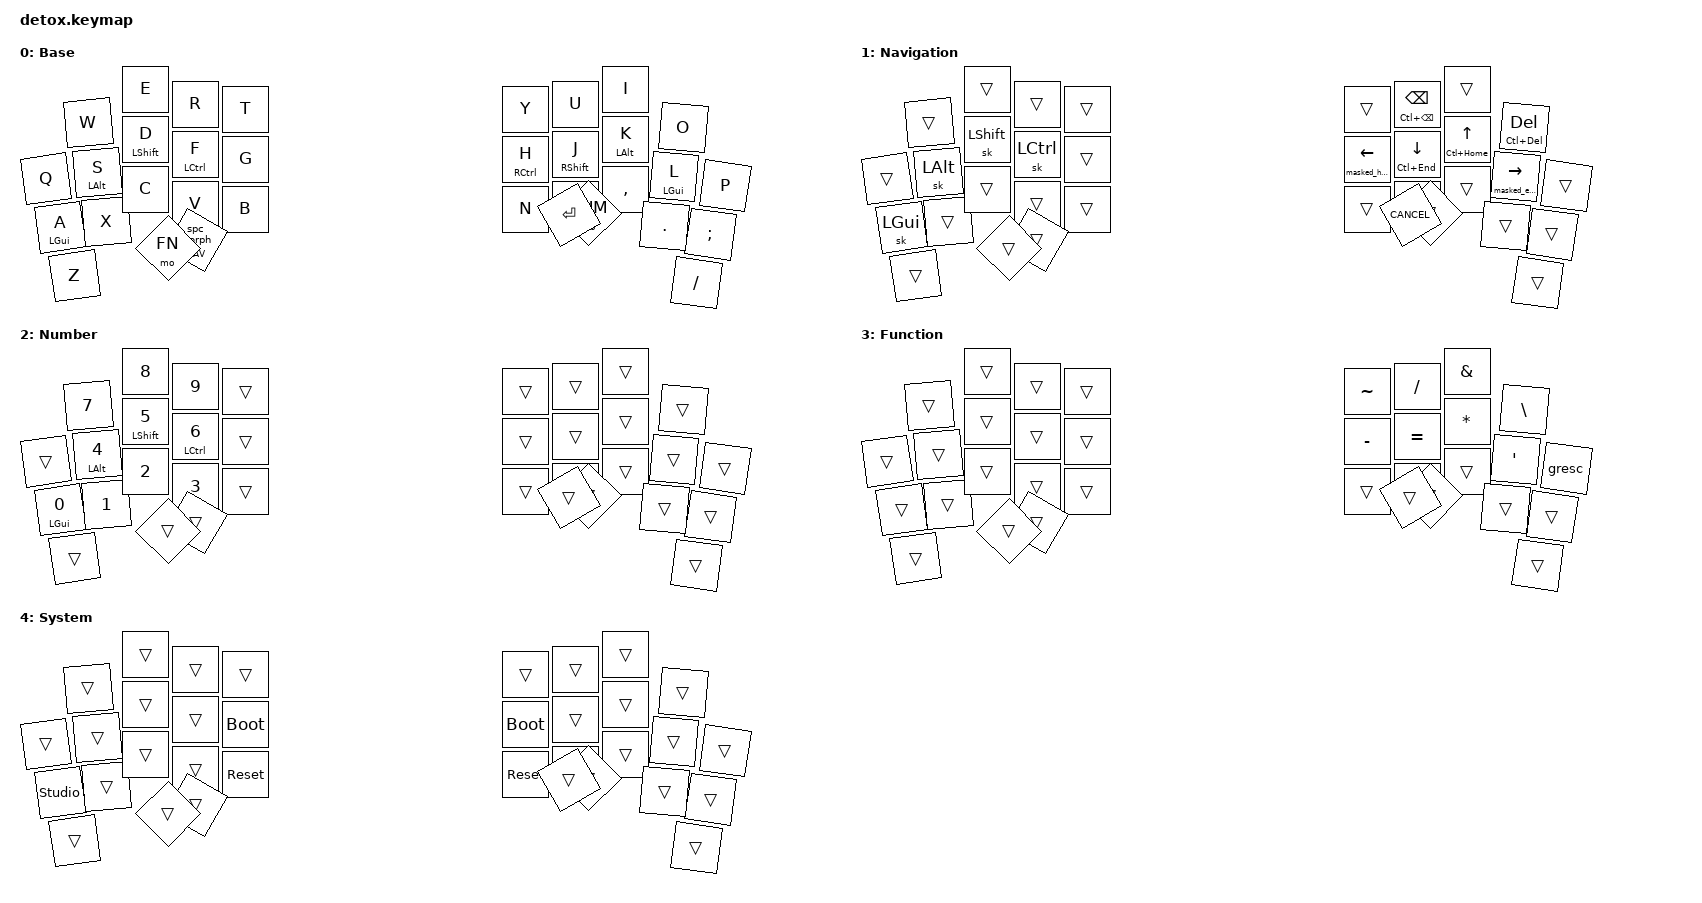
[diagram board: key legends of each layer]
// west build -p -b nice_nano_v2 -- -DSHIELD=detox_left -DZMK_CONFIG="detox"

#include <behaviors.dtsi>
#include <dt-bindings/zmk/keys.h>
#include "34.h"

#define HM_TAPPING_TERM 300
#define HM_TAPPING_TERM_FAST 200
#define HM_PRIOR_IDLE 150
#define QUICK_TAP_MS 175

#define COMBO_TERM_FAST 18
#define COMBO_TERM_SLOW 30

#define COMBO_IDLE_FAST 150
#define COMBO_IDLE_SLOW 50

#define DEF 0
#define NAV 1
#define NUM 2
#define FN 3
#define SYS 4

#define ___ &trans

#define KEYS_L LT0 LT1 LT2 LT3 LT4 LM0 LM1 LM2 LM3 LM4 LB0 LB1 LB2 LB3 LB4
#define KEYS_R RT0 RT1 RT2 RT3 RT4 RM0 RM1 RM2 RM3 RM4 RB0 RB1 RB2 RB3 RB4
#define KEYS_T LH1 LH0 RH0 RH1

// Trigger tap-action on all interrupts.
#define MT_CORE                                                                \
  flavor = "tap-preferred";                                                    \
  tapping-term-ms = <220>;                                                     \
  quick-tap-ms = <220>;                                                        \
  hold-trigger-key-positions = <0>;

&mt { MT_CORE };

&sk {
  release-after-ms = <900>;
  quick-release;
};

&sl { // Allow sticky mods to chord across sticky layers.
  ignore-modifiers;
};

&lt {
  flavor = "balanced";
  tapping-term-ms = <200>;
  quick-tap-ms = <QUICK_TAP_MS>;
};

#define NAV_LEFT  &mt_home 0   LEFT  // Tap: left  | Long-tap: start of line.
#define NAV_RIGHT &mt_end 0    RIGHT // Tap: right | Long-tap: end   of line.
#define NAV_UP    &mt LC(HOME) UP    // Tap: up    | Long-tap: start of doc.
#define NAV_DOWN  &mt LC(END)  DOWN  // Tap: down  | Long-tap: end   of doc.
#define NAV_BSPC  &mt LC(BSPC) BSPC  // Tap: bspc  | Long-tap: delete word bwd.
#define NAV_DEL   &mt LC(DEL)  DEL   // Tap: del   | Long-tap: delete word fwd.

/ {
      conditional_layers {
        compatible = "zmk,conditional-layers";
        tri_layer {
            if-layers = <FN NUM>;
            then-layer = <SYS>;
        };
      };

      macros {
        dot_spc: dot_space {
            compatible = "zmk,behavior-macro";
            #binding-cells = <0>;
            bindings = <&kp DOT &kp SPACE &sk LSHFT>;
            wait-ms = <0>;
            tap-ms = <5>;
        };
      };

      behaviors {

        // Positional Homerow mods
        // Homerow mods that prevent accidental activations when rolling keys,
        // such as when typing `st` or `ne` on colemak-dh layouts or `as` on
        // qwerty.
        //
        // Works by only allowing a mod to activate within tapping-term if
        // it's on the opposite side of the keyboard or on the same side thumb
        // keys.

        // Further optimization using urob's timerless homerow mods method:
        // https://github.com/urob/zmk-config#timeless-homerow-mods
        hml: homerow_mods_left {
            compatible = "zmk,behavior-hold-tap";
            #binding-cells = <2>;

            bindings = <&kp>,  <&kp>;

            flavor = "balanced";
            tapping-term-ms = <HM_TAPPING_TERM>;
            quick-tap-ms = <QUICK_TAP_MS>;                // repeat on tap-into-hold
            require-prior-idle-ms = <HM_PRIOR_IDLE>;

            hold-trigger-key-positions = <KEYS_R KEYS_T>;
            hold-trigger-on-release;
        };

        hmr: homerow_mods_right {
            compatible = "zmk,behavior-hold-tap";
            #binding-cells = <2>;

            bindings = <&kp>, <&kp>;

            flavor = "balanced";
            tapping-term-ms = <HM_TAPPING_TERM>;
            quick-tap-ms = <QUICK_TAP_MS>;
            require-prior-idle-ms = <HM_PRIOR_IDLE>;

            hold-trigger-key-positions = <KEYS_L KEYS_T>;
            hold-trigger-on-release;
        };


        // Positional Homerow mods for shift
        // Use faster tapping term and disable some features that may
        // cause false negatives.
        hls: hm_shift_l {
            compatible = "zmk,behavior-hold-tap";
            #binding-cells = <2>;

            bindings = <&kp>, <&kp>;

            flavor = "balanced";
            tapping-term-ms = <HM_TAPPING_TERM_FAST>;
            quick-tap-ms = <QUICK_TAP_MS>;
            require-prior-idle-ms = <HM_PRIOR_IDLE>;

            hold-trigger-key-positions = <KEYS_R KEYS_T>;
            // hold-trigger-on-release;
        };

        hrs: hm_shift_r {
            compatible = "zmk,behavior-hold-tap";
            #binding-cells = <2>;

            bindings = <&kp>, <&kp>;

            flavor = "balanced";
            tapping-term-ms = <HM_TAPPING_TERM_FAST>;
            quick-tap-ms = <QUICK_TAP_MS>;
            require-prior-idle-ms = <HM_PRIOR_IDLE>;

            hold-trigger-key-positions = <KEYS_L KEYS_T>;
            // hold-trigger-on-release;
        };

        spc_morph: space_morph {
            compatible = "zmk,behavior-mod-morph";
            #binding-cells = <0>;

            bindings = <&kp SPC>, <&dot_spc>;
            mods = <(MOD_LSFT|MOD_RSFT)>;
        };

        lt_spc: layer_tap_left {
            compatible = "zmk,behavior-hold-tap";
            #binding-cells = <2>;

            flavor = "balanced";
            tapping-term-ms = <200>;
			quick-tap-ms = <QUICK_TAP_MS>;

            bindings = <&mo>, <&spc_morph>;
        };

        masked_home: masked_home {
            compatible = "zmk,behavior-mod-morph";
            #binding-cells = <0>;

            bindings = <&kp HOME>, <&kp HOME>;
            mods = <(MOD_LCTL)>;
        };

        mt_home: mt_home {
            compatible = "zmk,behavior-hold-tap";
            #binding-cells = <2>;

            MT_CORE
            bindings = <&masked_home>, <&kp>;
        };

        masked_end: masked_end {
            compatible = "zmk,behavior-mod-morph";
            #binding-cells = <0>;

            bindings = <&kp END>, <&kp END>;
            mods = <(MOD_LCTL)>;
        };

        lpar_lt: lpar_lt {
            compatible = "zmk,behavior-mod-morph";
            #binding-cells = <0>;

            bindings = <&kp LPAR>, <&kp LT>;
            mods = <(MOD_LSFT | MOD_RSFT)>;
        };

        rpar_gt: rpar_gt {
            compatible = "zmk,behavior-mod-morph";
            #binding-cells = <0>;

            bindings = <&kp RPAR>, <&kp GT>;
            mods = <(MOD_LSFT | MOD_RSFT)>;
        };

        mt_end: mt_end {
            compatible = "zmk,behavior-hold-tap";
            #binding-cells = <2>;

            MT_CORE
            bindings = <&masked_end>, <&kp>;
        };
    };

    combos {
        compatible = "zmk,combos";

        combo_esc {
            timeout-ms = <COMBO_TERM_FAST>;
            bindings = <&kp ESC>;
            key-positions = <LT3 LT2>;
            layers = <DEF NAV NUM>;
            require-prior-idle-ms = <COMBO_IDLE_FAST>;
        };

        combo_bspc {
            timeout-ms = <COMBO_TERM_FAST>;
            bindings = <&kp BSPC>;
            key-positions = <RT1 RT2>;
            layers = <DEF NAV NUM FN>;
            require-prior-idle-ms = <COMBO_IDLE_FAST>;
        };

        combo_tab {
            timeout-ms = <COMBO_TERM_FAST>;
            bindings = <&hml LS(LALT)TAB>;
            key-positions = <LM3 LM2>;
            layers = <DEF NAV NUM>;
            require-prior-idle-ms = <COMBO_IDLE_FAST>;
        };

        combo_lt {
            timeout-ms = <COMBO_TERM_FAST>;
            bindings = <&kp LT>;
            key-positions = <RM0 RM1>;
            layers = <NAV>;
            require-prior-idle-ms = <COMBO_IDLE_FAST>;
        };

        combo_gt {
            timeout-ms = <COMBO_TERM_FAST>;
            bindings = <&kp GT>;
            key-positions = <RM1 RM2>;
            layers = <NAV>;
            require-prior-idle-ms = <COMBO_IDLE_FAST>;
        };

        combo_lpar {
            timeout-ms = <COMBO_TERM_FAST>;
            bindings = <&lpar_lt>;
            key-positions = <RM0 RM1>;
            layers = <DEF NUM>;
            require-prior-idle-ms = <COMBO_IDLE_FAST>;
        };

        combo_rpar {
            timeout-ms = <COMBO_TERM_FAST>;
            bindings = <&rpar_gt>;
            key-positions = <RM1 RM2>;
            layers = <DEF NUM>;
            require-prior-idle-ms = <COMBO_IDLE_FAST>;
        };

        combo_lbkt {
            timeout-ms = <COMBO_TERM_FAST>;
            bindings = <&kp LBKT>;
            key-positions = <RB0 RB1>;
            layers = <DEF NUM>;
            require-prior-idle-ms = <COMBO_IDLE_FAST>;
        };

        combo_rbkt {
            timeout-ms = <COMBO_TERM_FAST>;
            bindings = <&kp RBKT>;
            key-positions = <RB1 RB2>;
            layers = <DEF NUM>;
            require-prior-idle-ms = <COMBO_IDLE_FAST>;
        };

        combo_lbrc {
            timeout-ms = <COMBO_TERM_FAST>;
            bindings = <&kp LBRC>;
            key-positions = <RB0 RB1>;
            layers = <NAV>;
            require-prior-idle-ms = <COMBO_IDLE_FAST>;
        };

        combo_rbrc {
            timeout-ms = <COMBO_TERM_FAST>;
            bindings = <&kp RBRC>;
            key-positions = <RB1 RB2>;
            layers = <NAV>;
            require-prior-idle-ms = <COMBO_IDLE_FAST>;
        };
    };

    keymap {
        compatible = "zmk,keymap";

        base_layer {
            display-name = "Base";
            bindings = <
//╭─────────────┬─────────────┬─────────────┬─────────────┬─────────────╮ ╭─────────────┬─────────────┬─────────────┬─────────────┬─────────────╮
    &kp Q         &kp W         &kp E         &kp R         &kp T           &kp Y         &kp U         &kp I         &kp O         &kp P       
//├─────────────┼─────────────┼─────────────┼─────────────┼─────────────┤ ├─────────────┼─────────────┼─────────────┼─────────────┼─────────────┤
    &hml LGUI A   &hml LALT S   &hls LSHIFT D &hml LCTRL F  &kp G           &hmr RCTRL H  &hrs RSHIFT J &hmr LALT K   &hmr LGUI L   &kp SEMI    
//├─────────────┼─────────────┼─────────────┼─────────────┼─────────────┤ ├─────────────┼─────────────┼─────────────┼─────────────┼─────────────┤
    &kp Z         &kp X         &kp C         &kp V         &kp B           &kp N         &kp M         &kp COMMA     &kp DOT       &kp SLASH   
//╰─────────────┼─────────────┴─────────────┼─────────────┼─────────────┤ ├─────────────┼─────────────┼─────────────┴───────────────────────────╯
                                              &lt_spc NAV 0 &mo FN          &mo NUM       &kp ENTER
//                                          ╰─────────────┴─────────────╯ ╰─────────────┴─────────────╯
            >;
        };

        nav_layer {
            display-name = "Navigation";
            bindings = <
//╭─────────────┬─────────────┬─────────────┬─────────────┬─────────────╮ ╭─────────────┬─────────────┬─────────────┬─────────────┬─────────────╮
    ___           ___           ___           ___           ___             ___           NAV_BSPC      ___           NAV_DEL       ___
//├─────────────┼─────────────┼─────────────┼─────────────┼─────────────┤ ├─────────────┼─────────────┼─────────────┼─────────────┼─────────────┤
    &sk LGUI      &sk LALT      &sk LSHFT     &sk LCTRL     ___             NAV_LEFT      NAV_DOWN      NAV_UP        NAV_RIGHT     ___
//├─────────────┼─────────────┼─────────────┼─────────────┼─────────────┤ ├─────────────┼─────────────┼─────────────┼─────────────┼─────────────┤
    ___           ___           ___           ___           ___             ___           ___           ___           ___           ___
//╰─────────────┼─────────────┴─────────────┼─────────────┼─────────────┤ ├─────────────┼─────────────┼─────────────┴───────────────────────────╯
                                              ___           ___             ___           &kp K_CANCEL
//                                          ╰─────────────┴─────────────╯ ╰─────────────┴─────────────╯
            >;
        };

        num_layer {
            display-name = "Number";
            bindings = <
//╭─────────────┬─────────────┬─────────────┬─────────────┬─────────────╮ ╭─────────────┬─────────────┬─────────────┬─────────────┬─────────────╮
    ___           &kp N7        &kp N8        &kp N9        ___             ___           ___           ___           ___           ___
//├─────────────┼─────────────┼─────────────┼─────────────┼─────────────┤ ├─────────────┼─────────────┼─────────────┼─────────────┼─────────────┤
    &hml LGUI N0  &hml LALT N4  &hml LSHFT N5 &hml LCTRL N6 ___             ___           ___           ___           ___           ___
//├─────────────┼─────────────┼─────────────┼─────────────┼─────────────┤ ├─────────────┼─────────────┼─────────────┼─────────────┼─────────────┤
    ___           &kp N1        &kp N2        &kp N3        ___             ___           ___           ___           ___           ___
//╰─────────────┼─────────────┴─────────────┼─────────────┼─────────────┤ ├─────────────┼─────────────┼─────────────┴───────────────────────────╯
                                              ___           ___             ___           ___
//                                          ╰─────────────┴─────────────╯ ╰─────────────┴─────────────╯
            >;
        };

        fn_layer {
            display-name = "Function";
            bindings = <
//╭─────────────┬─────────────┬─────────────┬─────────────┬─────────────╮ ╭─────────────┬─────────────┬─────────────┬─────────────┬─────────────╮
    ___           ___           ___           ___           ___             &kp TILDE     &kp SLASH     &kp AMPERSAND &kp BSLH      &gresc
//├─────────────┼─────────────┼─────────────┼─────────────┼─────────────┤ ├─────────────┼─────────────┼─────────────┼─────────────┼─────────────┤
    ___           ___           ___           ___           ___             &kp MINUS     &kp EQUAL     &kp ASTERISK  &kp SQT       ___
//├─────────────┼─────────────┼─────────────┼─────────────┼─────────────┤ ├─────────────┼─────────────┼─────────────┼─────────────┼─────────────┤
    ___           ___           ___           ___           ___             ___           ___           ___           ___           ___
//╰─────────────┼─────────────┴─────────────┼─────────────┼─────────────┤ ├─────────────┼─────────────┼─────────────┴───────────────────────────╯
                                              ___           ___             ___           ___
//                                          ╰─────────────┴─────────────╯ ╰─────────────┴─────────────╯
            >;
        };

        sys_layer {
            display-name = "System";
            bindings = <
//╭─────────────┬─────────────┬─────────────┬─────────────┬─────────────╮ ╭─────────────┬─────────────┬─────────────┬─────────────┬─────────────╮
    ___           ___           ___           ___           ___             ___           ___           ___           ___           ___
//├─────────────┼─────────────┼─────────────┼─────────────┼─────────────┤ ├─────────────┼─────────────┼─────────────┼─────────────┼─────────────┤
   &studio_unlock ___           ___           ___           &bootloader     &bootloader   ___           ___           ___           ___
//├─────────────┼─────────────┼─────────────┼─────────────┼─────────────┤ ├─────────────┼─────────────┼─────────────┼─────────────┼─────────────┤
    ___           ___           ___           ___           &sys_reset      &sys_reset    ___           ___           ___           ___
//╰─────────────┼─────────────┴─────────────┼─────────────┼─────────────┤ ├─────────────┼─────────────┼─────────────┴───────────────────────────╯
                                              ___           ___             ___           ___
//                                          ╰─────────────┴─────────────╯ ╰─────────────┴─────────────╯
            >;
        };
    };
};
